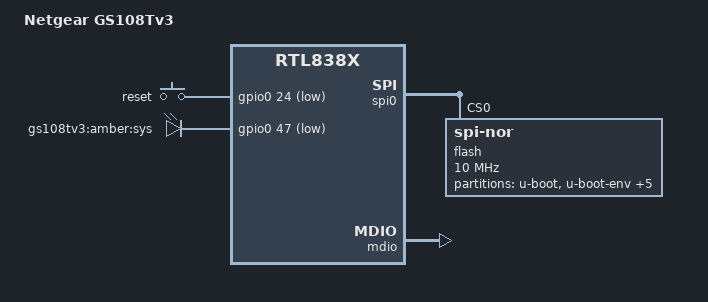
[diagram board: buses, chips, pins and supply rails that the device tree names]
// SPDX-License-Identifier: GPL-2.0-or-later OR MIT

#include "rtl838x.dtsi"

#include <dt-bindings/input/input.h>
#include <dt-bindings/gpio/gpio.h>

/ {
	compatible = "netgear,gs108tv3", "realtek,rtl838x-soc";
	model = "Netgear GS108Tv3";

	aliases {
		led-boot = &led_sys;
		led-failsafe = &led_sys;
		led-running = &led_sys;
		led-upgrade = &led_sys;
	};

	chosen {
		bootargs = "console=ttyS0,115200";
	};

	gpio1: rtl8231-gpio {
		compatible = "realtek,rtl8231-gpio";
		#gpio-cells = <2>;
		indirect-access-bus-id = <0>;
		gpio-controller;
	};

	keys {
		compatible = "gpio-keys-polled";
		poll-interval = <20>;

		reset {
			label = "reset";
			gpios = <&gpio0 24 GPIO_ACTIVE_LOW>;
			linux,code = <KEY_RESTART>;
		};
	};

	leds {
		compatible = "gpio-leds";

		led_sys: sys {
			label = "gs108tv3:amber:sys";
			gpios = <&gpio0 47 GPIO_ACTIVE_LOW>;
		};
	};
};

&spi0 {
	status = "okay";
	flash@0 {
		compatible = "jedec,spi-nor";
		reg = <0>;
		spi-max-frequency = <10000000>;

		partitions {
			compatible = "fixed-partitions";
			#address-cells = <1>;
			#size-cells = <1>;

			partition@0 {
				label = "u-boot";
				reg = <0x00000000 0xe0000>;
				read-only;
			};
			partition@e0000 {
				label = "u-boot-env";
				reg = <0x000e0000 0x10000>;
				read-only;
			};
			partition@f0000 {
				label = "u-boot-env2";
				reg = <0x000f0000 0x10000>;
				read-only;
			};
			partition@100000 {
				label = "jffs2_cfg";
				reg = <0x00100000 0x100000>;
			};
			partition@200000 {
				label = "jffs2_log";
				reg = <0x00200000 0x100000>;
			};
			partition@300000 {
				label = "firmware";
				compatible = "openwrt,uimage", "denx,uimage";
				openwrt,ih-magic = <0x4e474520>;
				reg = <0x00300000 0xe80000>;
			};
			partition@1180000 {
				label = "runtime2";
				reg = <0x01180000 0xe80000>;
			};
		};
	};
};

&ethernet0 {
	mdio: mdio-bus {
		compatible = "realtek,rtl838x-mdio";
		regmap = <&ethernet0>;
		#address-cells = <1>;
		#size-cells = <0>;

		INTERNAL_PHY(8)
		INTERNAL_PHY(9)
		INTERNAL_PHY(10)
		INTERNAL_PHY(11)
		INTERNAL_PHY(12)
		INTERNAL_PHY(13)
		INTERNAL_PHY(14)
		INTERNAL_PHY(15)
	};
};

&switch0 {
	ports {
		#address-cells = <1>;
		#size-cells = <0>;

		SWITCH_PORT(8, 1, internal)
		SWITCH_PORT(9, 2, internal)
		SWITCH_PORT(10, 3, internal)
		SWITCH_PORT(11, 4, internal)
		SWITCH_PORT(12, 5, internal)
		SWITCH_PORT(13, 6, internal)
		SWITCH_PORT(14, 7, internal)
		SWITCH_PORT(15, 8, internal)

		port@28 {
			ethernet = <&ethernet0>;
			reg = <28>;
			fixed-link {
				speed = <1000>;
				full-duplex;
			};
		};
	};
};
